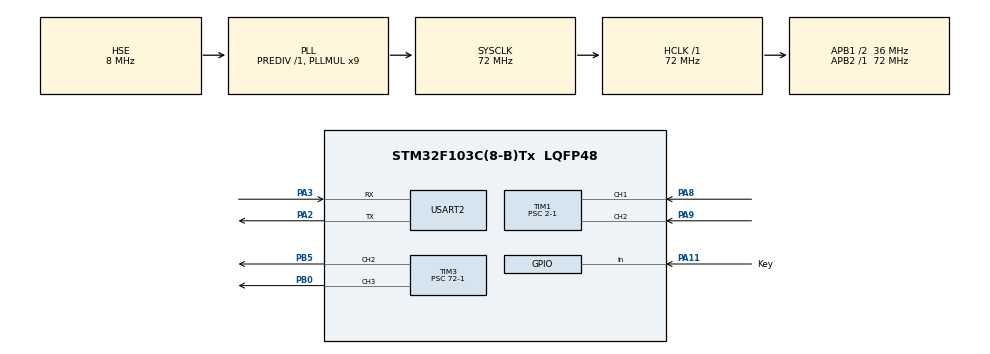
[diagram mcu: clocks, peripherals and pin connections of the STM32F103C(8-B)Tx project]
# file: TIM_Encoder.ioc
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Mcu.Family=STM32F1
Mcu.Name=STM32F103C(8-B)Tx
Mcu.Package=LQFP48
NVIC.PriorityGroup=NVIC_PRIORITYGROUP_4
NVIC.USART2_IRQn=true\:10\:0\:true\:false\:true\:true\:true\:true
PA11.GPIO_Label=Key
PA11.GPIO_PuPd=GPIO_PULLUP
PA11.Signal=GPIO_Input
PA13.Mode=Serial_Wire
PA13.Signal=SYS_JTMS-SWDIO
PA14.Mode=Serial_Wire
PA14.Signal=SYS_JTCK-SWCLK
PA2.Mode=Asynchronous
PA2.Signal=USART2_TX
PA3.Mode=Asynchronous
PA3.Signal=USART2_RX
PA8.Signal=S_TIM1_CH1
PA9.Signal=S_TIM1_CH2
PB0.Signal=S_TIM3_CH3
PB5.Signal=S_TIM3_CH2
PD0-OSC_IN.Mode=HSE-External-Oscillator
PD0-OSC_IN.Signal=RCC_OSC_IN
PD1-OSC_OUT.Mode=HSE-External-Oscillator
PD1-OSC_OUT.Signal=RCC_OSC_OUT
ProjectManager.HeapSize=0x200
ProjectManager.StackSize=0x400
ProjectManager.TargetToolchain=CMake
RCC.AHBFreq_Value=72000000
RCC.APB1CLKDivider=RCC_HCLK_DIV2
RCC.APB1Freq_Value=36000000
RCC.APB1TimFreq_Value=72000000
RCC.APB2Freq_Value=72000000
RCC.APB2TimFreq_Value=72000000
RCC.HCLKFreq_Value=72000000
RCC.PLLMUL=RCC_PLL_MUL9
RCC.PLLSourceVirtual=RCC_PLLSOURCE_HSE
RCC.SYSCLKFreq_VALUE=72000000
RCC.SYSCLKSource=RCC_SYSCLKSOURCE_PLLCLK
RCC.USBFreq_Value=72000000
SH.S_TIM1_CH1.0=TIM1_CH1,Encoder_Interface
SH.S_TIM1_CH2.0=TIM1_CH2,Encoder_Interface
SH.S_TIM3_CH2.0=TIM3_CH2,PWM Generation2 CH2
SH.S_TIM3_CH3.0=TIM3_CH3,PWM Generation3 CH3
TIM1.IC1Filter=15
TIM1.IC2Filter=15
TIM1.IC2Polarity=TIM_ICPOLARITY_FALLING
TIM1.Prescaler=2-1
TIM3.Channel-PWM\ Generation2\ CH2=TIM_CHANNEL_2
TIM3.Channel-PWM\ Generation3\ CH3=TIM_CHANNEL_3
TIM3.OCPolarity_2=TIM_OCPOLARITY_HIGH
TIM3.Period=100-1
TIM3.Prescaler=72-1
USART2.VirtualMode=VM_ASYNC
VP_TIM3_VS_ClockSourceINT.Mode=Internal
board=custom

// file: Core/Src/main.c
/* USER CODE BEGIN Header */
/**
  ******************************************************************************
  * @file           : main.c
  * @brief          : Main program body
  ******************************************************************************
  * @attention
  *
  * Copyright (c) 2026 STMicroelectronics.
  * All rights reserved.
  *
  * This software is licensed under terms that can be found in the LICENSE file
  * in the root directory of this software component.
  * If no LICENSE file comes with this software, it is provided AS-IS.
  *
  ******************************************************************************
  */
/* USER CODE END Header */
#include "main.h"
#include "stm32f103xb.h"
#include "stm32f1xx_hal_tim.h"
#include "tim.h"
#include "usart.h"
#include "gpio.h"

/* USER CODE BEGIN Includes */
#include <stdio.h>
/* USER CODE END Includes */

void SystemClock_Config(void);

int main(void)
{

  /* MCU Configuration--------------------------------------------------------*/

  /* Reset of all peripherals, Initializes the Flash interface and the Systick. */
  HAL_Init();

  /* Configure the system clock */
  SystemClock_Config();

  /* Initialize all configured peripherals */
  MX_GPIO_Init();
  MX_TIM1_Init();
  MX_USART2_UART_Init();
  MX_TIM3_Init();
  /* USER CODE BEGIN 2 */
  int channel_index = 0;
  uint32_t channel[2]={TIM_CHANNEL_2, TIM_CHANNEL_3};
  HAL_TIM_Encoder_Start(&htim1, TIM_CHANNEL_ALL);
  HAL_TIM_PWM_Start(&htim3, channel[channel_index]);
  int count=0;
  /* USER CODE END 2 */

  /* Infinite loop */
  /* USER CODE BEGIN WHILE */
  while (1)
  {
    count = __HAL_TIM_GET_COUNTER(&htim1);
    if(count>6000)
    {
      count=0;
      __HAL_TIM_SET_COUNTER(&htim1, 0);
    }else if(count>100)
    {
      count=100;
      __HAL_TIM_SET_COUNTER(&htim1, 100);
    }
    if(HAL_GPIO_ReadPin(GPIOA, GPIO_PIN_11)==GPIO_PIN_RESET)
    {
      HAL_Delay(10);
      if(HAL_GPIO_ReadPin(GPIOA, GPIO_PIN_11)==GPIO_PIN_RESET)
      {
        HAL_TIM_PWM_Stop(&htim3, channel[channel_index]);
        channel_index=!channel_index;
        HAL_TIM_PWM_Start(&htim3, channel[channel_index]);
      }
       while(HAL_GPIO_ReadPin(GPIOA, GPIO_PIN_11)==GPIO_PIN_RESET);
    }
          __HAL_TIM_SET_COMPARE(&htim3, channel[channel_index], count);
    printf("COUNT = %d\r\n", count);
    HAL_Delay(100);

    /* USER CODE END WHILE */

  }
}

void SystemClock_Config(void)
{
  RCC_OscInitTypeDef RCC_OscInitStruct = {0};
  RCC_ClkInitTypeDef RCC_ClkInitStruct = {0};

  /** Initializes the RCC Oscillators according to the specified parameters
  * in the RCC_OscInitTypeDef structure.
  */
  RCC_OscInitStruct.OscillatorType = RCC_OSCILLATORTYPE_HSE;
  RCC_OscInitStruct.HSEState = RCC_HSE_ON;
  RCC_OscInitStruct.HSEPredivValue = RCC_HSE_PREDIV_DIV1;
  RCC_OscInitStruct.HSIState = RCC_HSI_ON;
  RCC_OscInitStruct.PLL.PLLState = RCC_PLL_ON;
  RCC_OscInitStruct.PLL.PLLSource = RCC_PLLSOURCE_HSE;
  RCC_OscInitStruct.PLL.PLLMUL = RCC_PLL_MUL9;
  if (HAL_RCC_OscConfig(&RCC_OscInitStruct) != HAL_OK)
  {
    Error_Handler();
  }

  /** Initializes the CPU, AHB and APB buses clocks
  */
  RCC_ClkInitStruct.ClockType = RCC_CLOCKTYPE_HCLK|RCC_CLOCKTYPE_SYSCLK
                              |RCC_CLOCKTYPE_PCLK1|RCC_CLOCKTYPE_PCLK2;
  RCC_ClkInitStruct.SYSCLKSource = RCC_SYSCLKSOURCE_PLLCLK;
  RCC_ClkInitStruct.AHBCLKDivider = RCC_SYSCLK_DIV1;
  RCC_ClkInitStruct.APB1CLKDivider = RCC_HCLK_DIV2;
  RCC_ClkInitStruct.APB2CLKDivider = RCC_HCLK_DIV1;

  if (HAL_RCC_ClockConfig(&RCC_ClkInitStruct, FLASH_LATENCY_2) != HAL_OK)
  {
    Error_Handler();
  }
}

void Error_Handler(void)
{
  __disable_irq();
  while (1)
  {
  }
}
